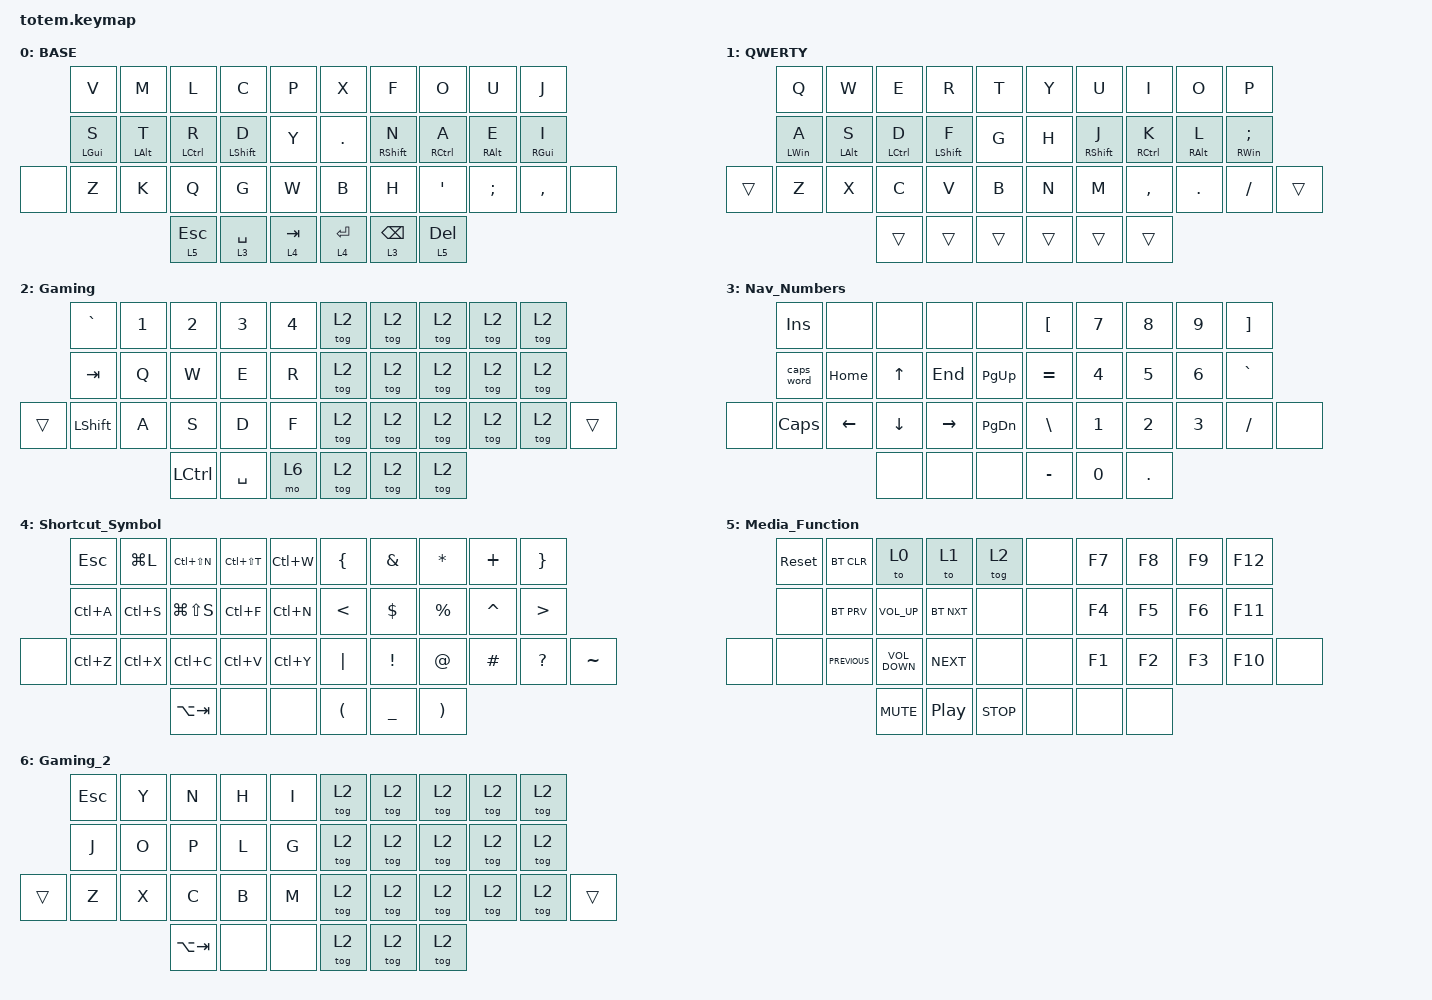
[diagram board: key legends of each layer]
//
//                                                        ▀▀▀▀▀     ▀▀▀▀▀          ▀▀█▀▀
//                                                        ▄▀▀▀▄  ▄  ▄▀▀▀▄  ▄  ▄▀▀▀▄  █  ▄▀▀▀▄
//                                                        █   █  █  █   █  █  █   █  █  █   █
//                                                         ▀▀▀   █   ▀▀▀   █   ▀▀▀   ▀   ▀▀▀
//                                                               █      ▄▄▄█▄▄▄    █   █  
//                                                               ▀      █  █  █     █▄█
//                                                             ▀▀▀▀▀    █  █  █      ▀
//                                                                      ▀  ▀  ▀
//
// ▄▄▄▄▄▄▄▄▄▄▄▄▄▄▄▄▄▄▄▄▄▄▄▄▄▄▄▄▄▄▄▄▄▄▄▄▄▄▄▄▄▄▄▄▄▄▄▄▄▄▄▄▄▄▄▄▄▄▄▄▄▄▄▄▄▄▄▄▄▄▄▄▄▄▄▄▄▄▄▄▄▄▄▄▄▄▄▄▄▄▄▄▄▄▄▄▄▄▄▄▄▄▄▄▄▄▄▄▄▄▄▄▄▄▄▄▄▄▄▄▄▄▄▄▄▄▄▄▄▄▄▄▄▄▄▄▄▄▄▄▄▄▄▄▄▄▄▄▄

#include <behaviors.dtsi>
#include <dt-bindings/zmk/bt.h>
#include <dt-bindings/zmk/keys.h>

#define BASE 0
#define NAV  1
#define SYM  2
#define ADJ  3
#define TVP1 4
#define TVP2 5

&mt {
    quick-tap-ms = <100>;
    flavor = "tap-preferred";
    tapping-term-ms = <200>;
};

/ {
    combos {
        compatible = "zmk,combos";

        combo_esc {
            timeout-ms = <50>;
            key-positions = <0 1>;
            bindings = <&kp ESC>;
        };

        combo_tvp {
            timeout-ms = <100>;
            key-positions = <11 12 13>;
            bindings = <&tog 0>;
        };
    };

    macros {
        gif: gif {
            label = "giphy";
            compatible = "zmk,behavior-macro";
            #binding-cells = <0>;
            bindings =
                <&macro_press>,
                <&kp LSHFT>,
                <&macro_tap>,
                <&kp N2>,
                <&macro_release>,
                <&kp LSHFT>,
                <&macro_tap>,
                <&kp G &kp I &kp F>;
        };
    };

    keymap {
        compatible = "zmk,keymap";

        STRDY {
            label = "BASE";
            bindings = <
       &kp V       &kp M       &kp L         &kp C        &kp P        &kp X        &kp F            &kp O         &kp U       &kp J
       &mt LGUI S  &mt LALT T  &mt LCTRL R   &mt LSHFT D  &kp Y        &kp DOT      &mt RSHFT N      &mt RCTRL A   &mt RALT E  &mt RGUI I
&none  &kp Z       &kp K       &kp Q         &kp G        &kp W        &kp B        &kp H            &kp APOS      &kp SEMI    &kp COMMA   &none
                               &lt 5 ESCAPE  &lt 3 SPACE  &lt 4 TAB    &lt 4 ENTER  &lt 3 BACKSPACE  &lt 5 DELETE
            >;
        };

        QWERTY {
            bindings = <
        &kp Q           &kp W           &kp E        &kp R             &kp T     &kp Y   &kp U              &kp I        &kp O            &kp P
        &mt LEFT_WIN A  &mt LEFT_ALT S  &mt LCTRL D  &mt LEFT_SHIFT F  &kp G     &kp H   &mt RIGHT_SHIFT J  &mt RCTRL K  &mt RIGHT_ALT L  &mt RIGHT_WIN SEMI
&trans  &kp Z           &kp X           &kp C        &kp V             &kp B     &kp N   &kp M              &kp COMMA    &kp DOT          &kp FSLH            &trans
                                        &trans       &trans            &trans    &trans  &trans             &trans
            >;
        };

        Gaming {
            bindings = <
        &kp GRAVE  &kp N1  &kp N2     &kp N3     &kp N4    &tog 2  &tog 2  &tog 2  &tog 2  &tog 2
        &kp TAB    &kp Q   &kp W      &kp E      &kp R     &tog 2  &tog 2  &tog 2  &tog 2  &tog 2
&trans  &kp LSHFT  &kp A   &kp S      &kp D      &kp F     &tog 2  &tog 2  &tog 2  &tog 2  &tog 2  &trans
                           &kp LCTRL  &kp SPACE  &mo 6     &tog 2  &tog 2  &tog 2
            >;
        };

        Nav_Numbers {
            bindings = <
       &kp INS       &none     &none     &none      &none            &kp LBKT   &kp N7  &kp N8   &kp N9  &kp RBKT
       &caps_word    &kp HOME  &kp UP    &kp END    &kp PAGE_UP      &kp EQUAL  &kp N4  &kp N5   &kp N6  &kp GRAVE
&none  &kp CAPSLOCK  &kp LEFT  &kp DOWN  &kp RIGHT  &kp PAGE_DOWN    &kp BSLH   &kp N1  &kp N2   &kp N3  &kp FSLH   &none
                               &none     &none      &none            &kp MINUS  &kp N0  &kp DOT
            >;
        };

        Shortcut_Symbol {
            bindings = <
       &kp ESCAPE  &kp LG(L)  &kp LC(LS(N))  &kp LC(LS(T))  &kp LC(W)    &kp LEFT_BRACE        &kp AMPERSAND    &kp ASTERISK           &kp PLUS   &kp RIGHT_BRACE
       &kp LC(A)   &kp LC(S)  &kp LG(LS(S))  &kp LC(F)      &kp LC(N)    &kp LESS_THAN         &kp DOLLAR       &kp PERCENT            &kp CARET  &kp GREATER_THAN
&none  &kp LC(Z)   &kp LC(X)  &kp LC(C)      &kp LC(V)      &kp LC(Y)    &kp PIPE              &kp EXCLAMATION  &kp AT_SIGN            &kp HASH   &kp QUESTION      &kp TILDE
                              &kp LA(TAB)    &none          &none        &kp LEFT_PARENTHESIS  &kp UNDERSCORE   &kp RIGHT_PARENTHESIS
            >;
        };

        Media_Function {
            bindings = <
       &sys_reset  &bt BT_CLR      &to 0              &to 1             &tog 2        &none  &kp F7  &kp F8  &kp F9  &kp F12
       &none       &bt BT_PRV      &kp C_VOLUME_UP    &bt BT_NXT        &none         &none  &kp F4  &kp F5  &kp F6  &kp F11
&none  &none       &kp C_PREVIOUS  &kp C_VOLUME_DOWN  &kp C_NEXT        &none         &none  &kp F1  &kp F2  &kp F3  &kp F10  &none
                                   &kp C_MUTE         &kp C_PLAY_PAUSE  &kp C_STOP    &none  &none   &none
            >;
        };

        Gaming_2 {
            bindings = <
        &kp ESC  &kp Y  &kp N        &kp H  &kp I    &tog 2  &tog 2  &tog 2  &tog 2  &tog 2
        &kp J    &kp O  &kp P        &kp L  &kp G    &tog 2  &tog 2  &tog 2  &tog 2  &tog 2
&trans  &kp Z    &kp X  &kp C        &kp B  &kp M    &tog 2  &tog 2  &tog 2  &tog 2  &tog 2  &trans
                        &kp LA(TAB)  &none  &none    &tog 2  &tog 2  &tog 2
            >;
        };
    };
};
